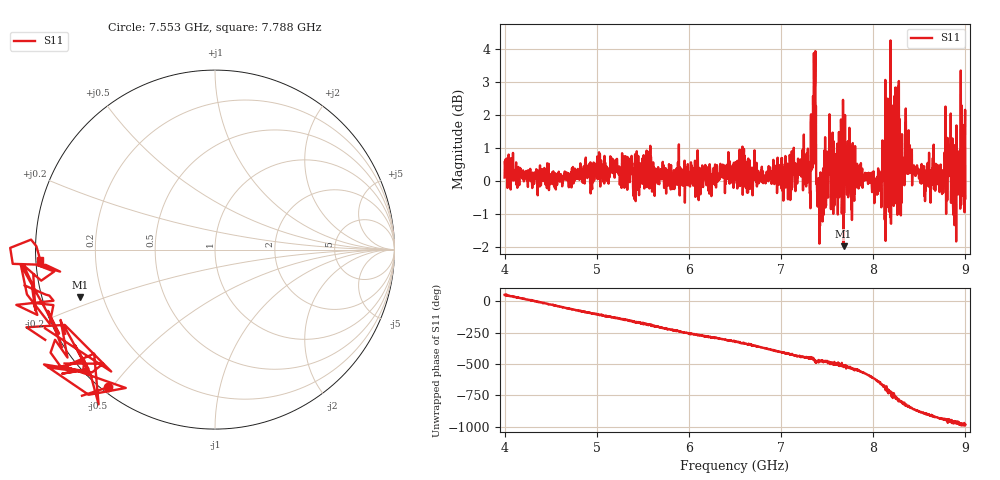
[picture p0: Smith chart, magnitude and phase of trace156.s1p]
! Created with skrf 1.8.0 (http://scikit-rf.org).
# Hz S RI R 50.0
!freq ReS11 ImS11
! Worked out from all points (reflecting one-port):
!   1601 points, 4 GHz to 9 GHz, reference 50 ohm
!   lowest |S11| = -2.0 dB at 7.678 GHz (marker M1), VSWR 8.77, Z = 5.87 - j8.48 ohm
!   phase of S11 starts at 53 deg and turns -1036 deg over the sweep
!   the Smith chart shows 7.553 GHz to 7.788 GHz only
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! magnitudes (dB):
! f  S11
! 4 GHz  0.1
! 4.625 GHz  -0.2
! 5.25 GHz  -0.1
! 5.875 GHz  0.3
! 6.5 GHz  0.5
! 7.125 GHz  0.6
! 7.294 GHz  0.0
! 7.328 GHz  0.3
! 7.347 GHz  2.6
! 7.381 GHz  -0.1
! 7.4 GHz  -0.1
! 7.428 GHz  0.3
! 7.538 GHz  0.6
! 7.591 GHz  0.8
! 7.678 GHz  -2.0
! 7.75 GHz  0.3
! 8.066 GHz  0.3
! 8.162 GHz  -0.8
! 8.228 GHz  2.6
! 8.253 GHz  1.2
! 8.316 GHz  0.0
! 8.375 GHz  0.6
! 8.556 GHz  -0.5
! 8.741 GHz  0.3
! 8.8 GHz  0.5
! 8.875 GHz  0.3
! 8.972 GHz  1.0
! 9 GHz  -0.5
